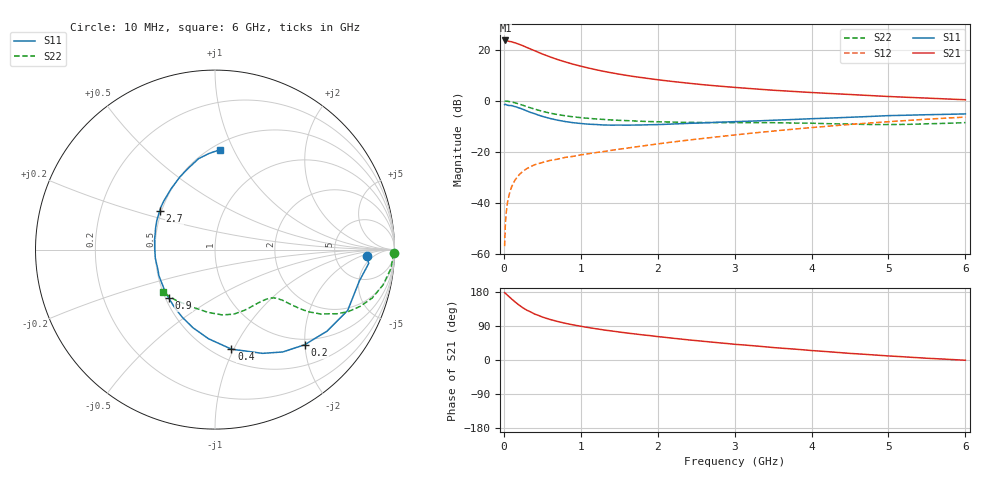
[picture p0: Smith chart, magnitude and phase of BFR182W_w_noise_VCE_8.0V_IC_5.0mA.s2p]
! Infineon Technologies  Discrete & RF Semiconductors
! BFR182W
! VCE =  8.0 V,  IC =  5.0 mA
! Common Emitter S-Parameters:  Jan 2017
# GHz  S  MA  R  50
!  f  S11  S21  S12  S22
! GHz  MAG  ANG  MAG  ANG  MAG  ANG  MAG  ANG
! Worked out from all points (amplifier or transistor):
!   77 points, 10 MHz to 6 GHz, reference 50 ohm
!   highest |S21| = 23.8 dB at 20 MHz (marker M1)
!   |S21| within 3 dB of that: start of sweep to 318.2 MHz
!   unconditionally stable (mu >= 1): 1.355 GHz to 2.847 GHz
!   at 130 MHz: K = 0.17, MSG = 27.5 dB, |S12| = -32.0 dB
!   at 2.2 GHz: K = 1.05, MAG = 10.6 dB, |S12| = -16.1 dB
!   at 6 GHz: K = 0.83, MSG = 3.4 dB, |S12| = -6.3 dB
!   lowest NFmin = 0.88 dB at 450 MHz
!   S11 on the Smith chart (normalised r, x): 10 MHz: 11, -3; 200 MHz: 0.88, -1.99; 400 MHz: 0.60, -0.98; 900 MHz: 0.52, -0.33; 2.7 GHz: 0.49, +0.25; 6 GHz: 0.55, +0.88
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0.01  0.8464 -2.6  15.28 177.8  0.0014 85.8  0.9997 -1.2
0.02  0.8599 -5.1  15.46 176.1  0.0038 89.6  0.992 -2.5
0.05  0.8225 -12.4  15.09 170.4  0.0106 81.5  0.9856 -6.2
0.1  0.8135 -24.6  14.58 161.2  0.0203 78.7  0.9564 -11.9
0.15  0.7723 -36.0  13.82 152.5  0.0285 71.9  0.9168 -17.1
0.2  0.7284 -46.7  12.98 144.6  0.0356 67.5  0.8693 -21.3
0.25  0.6839 -56.5  12.14 137.4  0.0418 63.6  0.821 -24.8
0.3  0.6358 -65.4  11.24 131.4  0.0469 60.6  0.7713 -27.6
0.4  0.5622 -80.6  9.707 121.3  0.0558 56.9  0.6912 -31.3
0.5  0.4987 -94.0  8.389 113.5  0.0617 54.7  0.6261 -33.6
0.6  0.4532 -105.5  7.36 107.0  0.0677 53.4  0.5772 -34.8
0.7  0.4188 -115.8  6.51 101.6  0.0718 53.4  0.5397 -35.5
0.8  0.3931 -125.0  5.846 96.8  0.0779 54.0  0.5112 -36.1
0.9  0.374 -133.4  5.276 92.7  0.0815 54.2  0.4882 -36.5
1.1  0.3497 -148.4  4.437 85.6  0.0918 55.7  0.4558 -37.5
1.5  0.336 -171.8  3.361 73.9  0.1128 58.5  0.4159 -40.4
2.1  0.3474 163.1  2.508 59.7  0.1497 60.7  0.3868 -48.4
2.7  0.3761 145.0  2.018 47.3  0.1916 60.6  0.3766 -59.2
3.1  0.3961 134.7  1.801 40.0  0.2227 59.4  0.3745 -66.6
4.1  0.4534 114.5  1.44 23.6  0.3086 53.7  0.3616 -86.3
5.1  0.5188 98.8  1.206 9.6  0.4004 45.1  0.3444 -114.6
6  0.5564 87.3  1.057 -0.7  0.4823 35.8  0.3755 -140.7
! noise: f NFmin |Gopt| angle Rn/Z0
0.45  0.88  0.26  32  0.17
0.9  0.98  0.21  59  0.16
1.9  1.55  0.19  162  0.13
2.4  1.83  0.21  176  0.17
